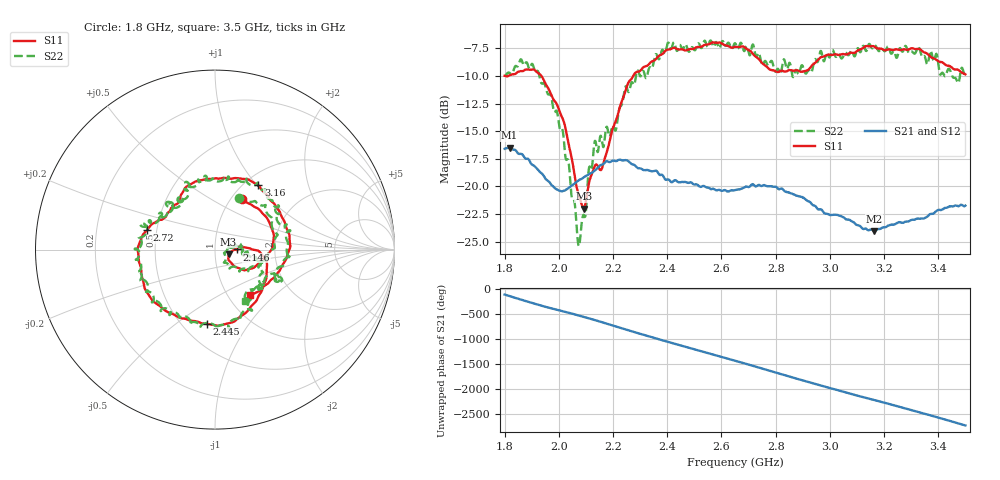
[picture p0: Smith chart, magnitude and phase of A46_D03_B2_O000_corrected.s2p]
! Created with skrf 1.9.0 (http://scikit-rf.org).
# Hz S RI R 50.0
!freq ReS11 ImS11 ReS21 ImS21 ReS12 ImS12 ReS22 ImS22
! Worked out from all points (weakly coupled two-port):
!   1601 points, 1.8 GHz to 3.5 GHz, reference 50 ohm
!   highest |S21| = -16.49 dB at 1.818 GHz (marker M1); lowest = -24.0 dB at 3.163 GHz (marker M2)
!   lowest |S11| = -22.0 dB at 2.092 GHz (marker M3), VSWR 1.17, Z = 58.1 - j2.81 ohm
!   |S11| at or under -10 dB: 1.802 GHz to 1.813 GHz (11.1 MHz wide, 0.614 % of centre); 1.936 GHz to 2.274 GHz (338.3 MHz wide, 16.1 % of centre)
!   |S22| runs from -25.4 to -6.8 dB; largest |S21 - S12| = 0.0026
!   S11 on the Smith chart (normalised r, x): 1.8 GHz: 1.12, +0.70; 2.146 GHz: 1.28, +0.00; 2.445 GHz: 0.65, -0.66; 2.72 GHz: 0.44, +0.11; 3.16 GHz: 1.16, +1.02; 3.5 GHz: 1.26, -0.72
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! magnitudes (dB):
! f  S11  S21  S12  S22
! 1.8 GHz  -10.0  -16.6  -16.6  -9.9
! 1.818 GHz  -9.9  -16.5  -16.5  -9.7
! 1.902 GHz  -9.4  -18.0  -18.0  -8.9
! 1.968 GHz  -11.5  -19.7  -19.7  -11.6
! 2.014 GHz  -13.8  -20.4  -20.4  -14.9
! 2.071 GHz  -20.5  -19.5  -19.5  -25.1
! 2.084 GHz  -21.6  -19.3  -19.3  -23.5
! 2.092 GHz  -22.0  -19.2  -19.2  -22.6
! 2.113 GHz  -19.5  -18.9  -18.9  -18.2
! 2.146 GHz  -18.3  -18.3  -18.2  -16.6
! 2.209 GHz  -14.2  -17.7  -17.7  -14.9
! 2.258 GHz  -10.5  -17.7  -17.7  -11.4
! 2.367 GHz  -8.2  -18.8  -18.8  -8.4
! 2.445 GHz  -7.6  -19.6  -19.6  -7.2
! 2.65 GHz  -7.4  -20.3  -20.3  -7.0
! 2.72 GHz  -8.1  -19.9  -19.8  -7.4
! 2.803 GHz  -9.6  -20.1  -20.1  -9.5
! 2.934 GHz  -9.1  -21.6  -21.6  -9.6
! 3.16 GHz  -7.3  -24.0  -23.9  -7.4
! 3.163 GHz  -7.3  -24.0  -24.0  -7.3
! 3.217 GHz  -7.6  -23.5  -23.5  -7.4
! 3.5 GHz  -9.8  -21.7  -21.7  -9.6
